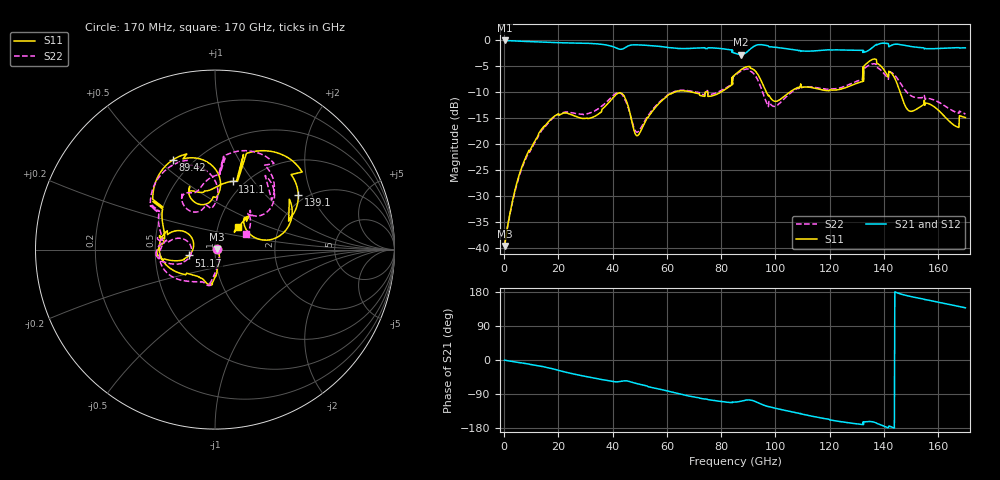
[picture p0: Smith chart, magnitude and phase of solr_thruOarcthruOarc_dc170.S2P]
# GHz S RI R 50
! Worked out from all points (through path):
!   1000 points, 170 MHz to 170 GHz, reference 50 ohm
!   highest |S21| = -0.09 dB at 170 MHz (marker M1); lowest = -2.8 dB at 87.38 GHz (marker M2)
!   group delay of S21, straight-line fit = 3.52 ps
!   lowest |S11| = -39.5 dB at 170 MHz (marker M3), VSWR 1.02, Z = 51.1 + j0.0601 ohm
!   |S11| at or under -10 dB: start of sweep to 62.85 GHz; 96.64 GHz to 105.3 GHz (8.614 GHz wide, 8.53 % of centre); 145.9 GHz to end of sweep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
!   |S22| runs from -39.6 to -4.6 dB; largest |S21 - S12| = 0.082
!   S11 on the Smith chart (normalised r, x): 170 MHz: 1.02, +0.00; 51.17 GHz: 0.75, -0.05; 89.42 GHz: 0.39, +0.57; 131.1 GHz: 0.88, +0.79; 139.1 GHz: 1.82, +1.60; 170 GHz: 1.24, +0.33
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0.17  0.0106 0.000588  0.9896 -0.00569  0.9896 -0.00554  0.0105 0.000604
5.78  0.0247 -0.0469  0.9646 -0.118  0.9579 -0.1634  0.0226 -0.0462
13.6  0.00823 -0.1364  0.9171 -0.2704  0.8907 -0.3475  -0.000288 -0.1327
19.21  -0.0188 -0.1897  0.8508 -0.4079  0.8263 -0.4555  -0.0278 -0.1871
28.56  -0.0688 -0.1633  0.7009 -0.6168  0.701 -0.6166  -0.063 -0.1836
42.67  -0.3108 0.0167  0.4465 -0.6821  0.4337 -0.6903  -0.3091 -0.0309
48.62  -0.1188 0.0286  0.4249 -0.7913  0.3919 -0.8081  -0.1314 0.00795
51.17  -0.145 -0.0327  0.3617 -0.8163  0.3296 -0.8298  -0.1479 -0.049
56.78  -0.2337 -0.0617  0.2087 -0.8454  0.1983 -0.8479  -0.2333 -0.0806
77.01  -0.2808 0.0822  -0.2388 -0.8046  -0.1916 -0.8171  -0.2956 0.0701
85.17  -0.3452 0.3138  -0.2673 -0.6949  -0.2631 -0.6965  -0.3582 0.2883
87.38  -0.3141 0.4139  -0.2329 -0.6865  -0.2365 -0.6853  -0.3233 0.387
89.42  -0.2325 0.5018  -0.2039 -0.7355  -0.213 -0.7329  -0.2352 0.4712
94.52  0.0202 0.4169  -0.393 -0.8123  -0.4176 -0.8  0.0111 0.3562
99.28  -0.0403 0.2577  -0.5051 -0.69  -0.5045 -0.6904  -0.0814 0.216
113.39  -0.1236 0.3267  -0.6655 -0.4126  -0.6619 -0.4184  -0.1572 0.3168
131.07  0.0986 0.3799  -0.7829 -0.1462  -0.7797 -0.1621  -0.000629 0.4112
134.64  0.3017 0.5489  -0.767 -0.2443  -0.7689 -0.2385  0.1683 0.5514
139.06  0.4639 0.3044  -0.9196 -0.1293  -0.92 -0.1269  0.3252 0.3894
141.78  0.4142 0.2808  -0.8567 -0.087  -0.8573 -0.0804  0.2794 0.4128
149.26  0.1864 0.0945  -0.8524 0.1734  -0.8522 0.1747  0.2353 0.187
170  0.1267 0.1286  -0.6222 0.5648  -0.6232 0.5637  0.1736 0.0881
